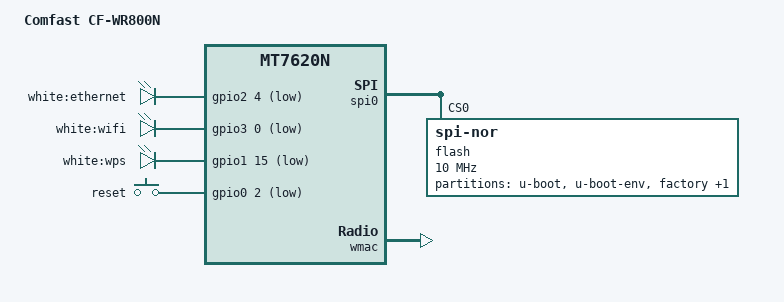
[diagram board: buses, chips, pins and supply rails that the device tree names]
#include "mt7620n.dtsi"

#include <dt-bindings/gpio/gpio.h>
#include <dt-bindings/input/input.h>

/ {
	compatible = "comfast,cf-wr800n", "ralink,mt7620n-soc";
	model = "Comfast CF-WR800N";

	aliases {
		led-boot = &led_wps;
		led-failsafe = &led_wps;
		led-running = &led_wps;
		led-upgrade = &led_wps;
	};

	chosen {
		bootargs = "console=ttyS0,115200";
	};

	leds {
		compatible = "gpio-leds";

		ethernet {
			label = "white:ethernet";
			gpios = <&gpio2 4 GPIO_ACTIVE_LOW>;
		};

		wifi {
			label = "white:wifi";
			gpios = <&gpio3 0 GPIO_ACTIVE_LOW>;
		};

		led_wps: wps {
			label = "white:wps";
			gpios = <&gpio1 15 GPIO_ACTIVE_LOW>;
		};
	};

	keys {
		compatible = "gpio-keys";

		reset {
			label = "reset";
			gpios = <&gpio0 2 GPIO_ACTIVE_LOW>;
			linux,code = <KEY_RESTART>;
		};
	};
};

&gpio1 {
	status = "okay";
};

&gpio2 {
	status = "okay";
};

&gpio3 {
	status = "okay";
};

&spi0 {
	status = "okay";

	flash@0 {
		compatible = "jedec,spi-nor";
		reg = <0>;
		spi-max-frequency = <10000000>;

		partitions {
			compatible = "fixed-partitions";
			#address-cells = <1>;
			#size-cells = <1>;

			partition@0 {
				label = "u-boot";
				reg = <0x0 0x30000>;
				read-only;
			};

			partition@30000 {
				label = "u-boot-env";
				reg = <0x30000 0x10000>;
				read-only;
			};

			factory: partition@40000 {
				label = "factory";
				reg = <0x40000 0x10000>;
				read-only;
			};

			partition@50000 {
				compatible = "denx,uimage";
				label = "firmware";
				reg = <0x50000 0x7b0000>;
			};
		};
	};
};

&ethernet {
	nvmem-cells = <&macaddr_factory_4>;
	nvmem-cell-names = "mac-address";
};

&wmac {
	ralink,mtd-eeprom = <&factory 0x0>;
};

&state_default {
	default {
		groups = "ephy", "wled", "spi refclk", "i2c";
		function = "gpio";
	};
};

&factory {
	compatible = "nvmem-cells";
	#address-cells = <1>;
	#size-cells = <1>;

	macaddr_factory_4: macaddr@4 {
		reg = <0x4 0x6>;
	};
};
